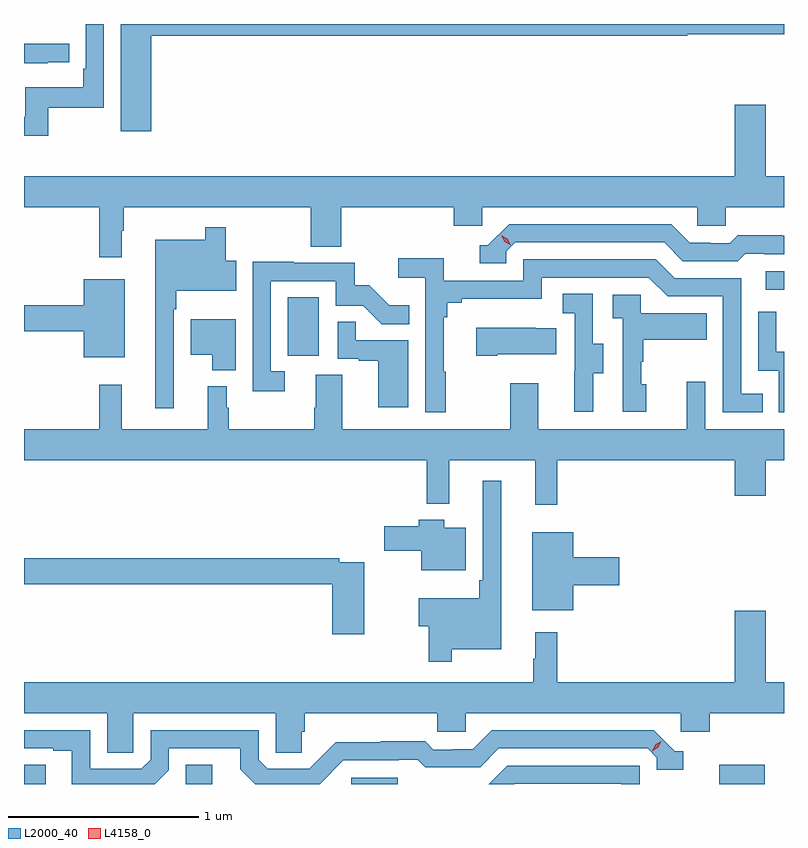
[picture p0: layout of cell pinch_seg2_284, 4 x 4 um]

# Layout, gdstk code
import gdstk
lib = gdstk.Library(unit=1e-6, precision=1e-09)
def R(c, l, rs):  # rectangles x0, y0, x1, y1
    for r in rs: c.add(gdstk.rectangle(r[:2], r[2:], *l))
def P(c, l, *ps):  # polygons
    for p in ps: c.add(gdstk.Polygon(p, *l))
L2000_40 = (2000, 40)
L4158_0 = (4158, 0)

pinch_seg2_284 = lib.new_cell('pinch_seg2_284')
R(pinch_seg2_284, L2000_40, [(928.5,636.608,928.615,636.71), (929.351,636.608,929.491,636.71), (930.222,636.608,930.466,636.642), (932.159,636.608,932.398,636.71), (929.888,638.862,930.052,639.169), (932.403,639.21,932.5,639.306)])
P(pinch_seg2_284, L2000_40, [(928.627,640.167),(928.92,640.167),(928.92,640.608),(928.824,640.608),(928.824,640.372),(928.811,640.372),(928.811,640.276),(928.506,640.276),(928.506,640.121),(928.5,640.121),(928.5,640.02),(928.627,640.02)],
  [(929.17,640.546),(931.99,640.546),(931.99,640.554),(932.5,640.554),(932.5,640.608),(929.009,640.608),(929.009,640.044),(929.17,640.044)],
  [(928.625,640.407),(928.738,640.407),(928.738,640.503),(928.5,640.503),(928.5,640.402),(928.625,640.402)],
  [(932.24,640.183),(932.24,639.808),(928.5,639.808),(928.5,639.644),(928.897,639.644),(928.897,639.381),(929.014,639.381),(929.014,639.521),(929.026,639.521),(929.026,639.644),(930.01,639.644),(930.01,639.436),(930.17,639.436),(930.17,639.644),(930.761,639.644),(930.761,639.546),(930.912,639.546),(930.912,639.644),(932.043,639.644),(932.043,639.546),(932.193,639.546),(932.193,639.644),(932.5,639.644),(932.5,639.808),(932.404,639.808),(932.404,640.183)],
  [(931.038,639.411),(931.086,639.459),(931.869,639.459),(931.968,639.36),(932.257,639.36),(932.296,639.399),(932.395,639.399),(932.395,639.396),(932.5,639.396),(932.5,639.493),(932.49,639.493),(932.49,639.496),(932.257,639.496),(932.215,639.453),(932.112,639.453),(932.112,639.456),(932.005,639.456),(931.906,639.555),(931.053,639.555),(930.942,639.444),(930.899,639.444),(930.899,639.348),(931.038,639.348)],
  [(929.289,639.107),(929.302,639.107),(929.302,639.203),(929.617,639.203),(929.617,639.361),(929.563,639.361),(929.563,639.538),(929.454,639.538),(929.454,639.472),(929.192,639.472),(929.192,638.586),(929.289,638.586)],
  [(930.721,638.777),(930.709,638.777),(930.709,639.065),(930.728,639.065),(930.728,639.142),(930.805,639.142),(930.805,639.161),(931.224,639.161),(931.224,639.273),(931.788,639.273),(931.887,639.174),(932.178,639.174),(932.178,638.565),(932.387,638.565),(932.387,638.661),(932.274,638.661),(932.274,639.27),(931.924,639.27),(931.825,639.369),(931.128,639.369),(931.128,639.258),(930.71,639.258),(930.71,639.374),(930.471,639.374),(930.471,639.272),(930.612,639.272),(930.612,638.565),(930.721,638.565)],
  [(929.872,638.781),(929.799,638.781),(929.799,639.255),(930.141,639.255),(930.141,639.126),(930.285,639.126),(930.383,639.028),(930.527,639.028),(930.527,639.127),(930.423,639.127),(930.316,639.234),(930.24,639.234),(930.24,639.351),(929.921,639.351),(929.921,639.356),(929.703,639.356),(929.703,638.676),(929.872,638.676)],
  [(929.029,639.265),(928.814,639.265),(928.814,639.128),(928.5,639.128),(928.5,638.992),(928.814,638.992),(928.814,638.855),(929.029,638.855)],
  [(931.495,638.77),(931.549,638.77),(931.549,638.925),(931.494,638.925),(931.494,639.188),(931.335,639.188),(931.335,639.085),(931.398,639.085),(931.398,638.781),(931.397,638.781),(931.397,638.568),(931.495,638.568)],
  [(931.774,638.712),(931.749,638.712),(931.749,638.831),(931.759,638.831),(931.759,638.945),(932.093,638.945),(932.093,639.085),(931.746,639.085),(931.746,639.183),(931.599,639.183),(931.599,639.059),(931.65,639.059),(931.65,638.568),(931.774,638.568)],
  [(932.5,638.882),(932.46,638.882),(932.46,639.094),(932.364,639.094),(932.364,638.784),(932.472,638.784),(932.472,638.565),(932.5,638.565)],
  [(929.614,639.055),(929.378,639.055),(929.378,638.867),(929.492,638.867),(929.492,638.786),(929.614,638.786)],
  [(930.523,638.943),(930.245,638.943),(930.245,639.041),(930.15,639.041),(930.15,638.847),(930.261,638.847),(930.261,638.835),(930.365,638.835),(930.365,638.592),(930.523,638.592)],
  [(930.991,638.87),(931.301,638.87),(931.301,639.007),(931.193,639.007),(931.193,639.01),(930.879,639.01),(930.879,638.863),(930.991,638.863)],
  [(931.307,638.312),(932.24,638.312),(932.24,638.124),(932.404,638.124),(932.404,638.312),(932.5,638.312),(932.5,638.476),(932.085,638.476),(932.085,638.725),(931.988,638.725),(931.988,638.476),(931.207,638.476),(931.207,638.716),(931.06,638.716),(931.06,638.476),(930.175,638.476),(930.175,638.762),(930.035,638.762),(930.035,638.588),(930.028,638.588),(930.028,638.476),(929.578,638.476),(929.578,638.588),(929.566,638.588),(929.566,638.701),(929.468,638.701),(929.468,638.476),(929.015,638.476),(929.015,638.71),(928.897,638.71),(928.897,638.476),(928.5,638.476),(928.5,638.312),(930.619,638.312),(930.619,638.084),(930.737,638.084),(930.737,638.312),(931.19,638.312),(931.19,638.079),(931.307,638.079)],
  [(930.751,637.316),(931.012,637.316),(931.012,638.203),(930.915,638.203),(930.915,637.681),(930.895,637.681),(930.895,637.585),(930.578,637.585),(930.578,637.438),(930.63,637.438),(930.63,637.251),(930.751,637.251)],
  [(930.826,637.957),(930.712,637.957),(930.712,637.999),(930.578,637.999),(930.578,637.965),(930.396,637.965),(930.396,637.835),(930.59,637.835),(930.59,637.733),(930.826,637.733)],
  [(931.39,637.655),(931.633,637.655),(931.633,637.802),(931.39,637.802),(931.39,637.933),(931.175,637.933),(931.175,637.523),(931.39,637.523)],
  [(930.292,637.776),(930.158,637.776),(930.158,637.796),(928.5,637.796),(928.5,637.66),(930.122,637.66),(930.122,637.395),(930.292,637.395)],
  [(929.076,636.98),(929.826,636.98),(929.826,636.772),(929.963,636.772),(929.963,636.882),(929.978,636.882),(929.978,636.98),(930.675,636.98),(930.675,636.882),(930.825,636.882),(930.825,636.98),(931.956,636.98),(931.956,636.882),(932.108,636.882),(932.108,636.98),(932.5,636.98),(932.5,637.144),(932.404,637.144),(932.404,637.519),(932.24,637.519),(932.24,637.144),(931.307,637.144),(931.307,637.408),(931.19,637.408),(931.19,637.268),(931.179,637.268),(931.179,637.144),(928.5,637.144),(928.5,636.98),(928.937,636.98),(928.937,636.772),(929.076,636.772)],
  [(929.262,636.681),(929.262,636.795),(929.639,636.795),(929.639,636.685),(929.716,636.608),(930.056,636.608),(930.18,636.732),(930.473,636.732),(930.473,636.735),(930.572,636.735),(930.611,636.696),(930.9,636.696),(930.999,636.795),(931.782,636.795),(931.83,636.747),(931.83,636.684),(931.969,636.684),(931.969,636.78),(931.926,636.78),(931.815,636.891),(930.962,636.891),(930.863,636.792),(930.756,636.792),(930.756,636.789),(930.653,636.789),(930.611,636.832),(930.378,636.832),(930.378,636.829),(930.142,636.829),(930,636.687),(929.784,636.687),(929.736,636.735),(929.736,636.891),(929.166,636.891),(929.166,636.735),(929.118,636.687),(928.848,636.687),(928.848,636.891),(928.5,636.891),(928.5,636.795),(928.655,636.795),(928.655,636.783),(928.751,636.783),(928.751,636.608),(929.189,636.608)],
  [(931.08,636.609),(931.644,636.609),(931.644,636.608),(931.74,636.608),(931.74,636.705),(931.043,636.705),(930.946,636.608),(931.079,636.608)])
P(pinch_seg2_284, L4158_0, [(931.061,639.444),(931.03,639.463),(931.013,639.495),(931.013,639.496),(931.013,639.496),(931.044,639.477),(931.061,639.444),(931.061,639.444)],
  [(931.806,636.781),(931.806,636.781),(931.822,636.814),(931.853,636.834),(931.853,636.834),(931.853,636.834),(931.837,636.801),(931.806,636.781)])

lib.write_gds('pinch_seg2_284.gds')
